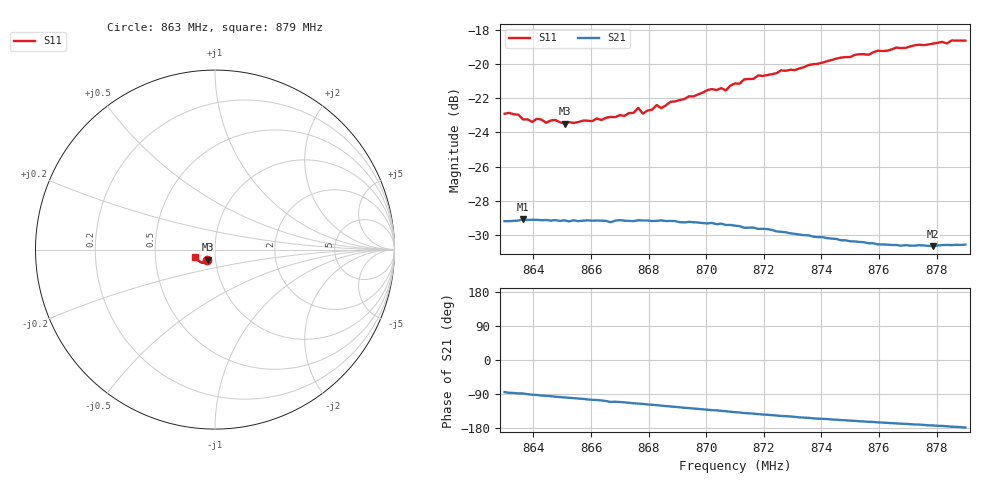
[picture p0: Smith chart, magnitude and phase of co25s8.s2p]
# HZ S RI R 50
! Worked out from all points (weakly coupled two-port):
!   101 points, 863 MHz to 879 MHz, reference 50 ohm
!   highest |S21| = -29.10 dB at 863.64 MHz (marker M1); lowest = -30.7 dB at 877.88 MHz (marker M2)
!   lowest |S11| = -23.5 dB at 865.08 MHz (marker M3), VSWR 1.14, Z = 46.1 - j5.18 ohm
!   |S11| at or under -10 dB: start of sweep to end of sweep
!   S12 and S22 are empty: the file has one direction only
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8.63e8  -0.0456 -0.0552  0.00314 -0.0345  0 0  0 0
8.6348e8  -0.0449 -0.0552  0.00107 -0.0348  0 0  0 0
8.6364e8  -0.0413 -0.0551  0.00105 -0.0351  0 0  0 0
8.6396e8  -0.0401 -0.0546  -0.000907 -0.035  0 0  0 0
8.6412e8  -0.0415 -0.0553  -0.00143 -0.035  0 0  0 0
8.6444e8  -0.04 -0.0542  -0.00274 -0.0348  0 0  0 0
8.6476e8  -0.0399 -0.0558  -0.00411 -0.0347  0 0  0 0
8.6508e8  -0.037 -0.0558  -0.00532 -0.0345  0 0  0 0
8.6572e8  -0.0362 -0.0579  -0.00762 -0.0339  0 0  0 0
8.6716e8  -0.0351 -0.0612  -0.0129 -0.0323  0 0  0 0
8.6764e8  -0.0369 -0.0647  -0.0148 -0.0316  0 0  0 0
8.678e8  -0.0356 -0.0622  -0.0152 -0.0314  0 0  0 0
8.6828e8  -0.0374 -0.066  -0.0169 -0.0303  0 0  0 0
8.6844e8  -0.0365 -0.0647  -0.0176 -0.0301  0 0  0 0
8.6876e8  -0.0385 -0.0674  -0.0187 -0.0292  0 0  0 0
8.7004e8  -0.0439 -0.0715  -0.0225 -0.0257  0 0  0 0
8.7068e8  -0.0455 -0.0704  -0.024 -0.0238  0 0  0 0
8.71e8  -0.0485 -0.0732  -0.0249 -0.0226  0 0  0 0
8.7372e8  -0.0682 -0.0731  -0.028 -0.0137  0 0  0 0
8.7644e8  -0.0913 -0.0623  -0.0287 -0.00676  0 0  0 0
8.7788e8  -0.1035 -0.05  -0.029 -0.00375  0 0  0 0
8.79e8  -0.1106 -0.0388  -0.0296 -0.000924  0 0  0 0
